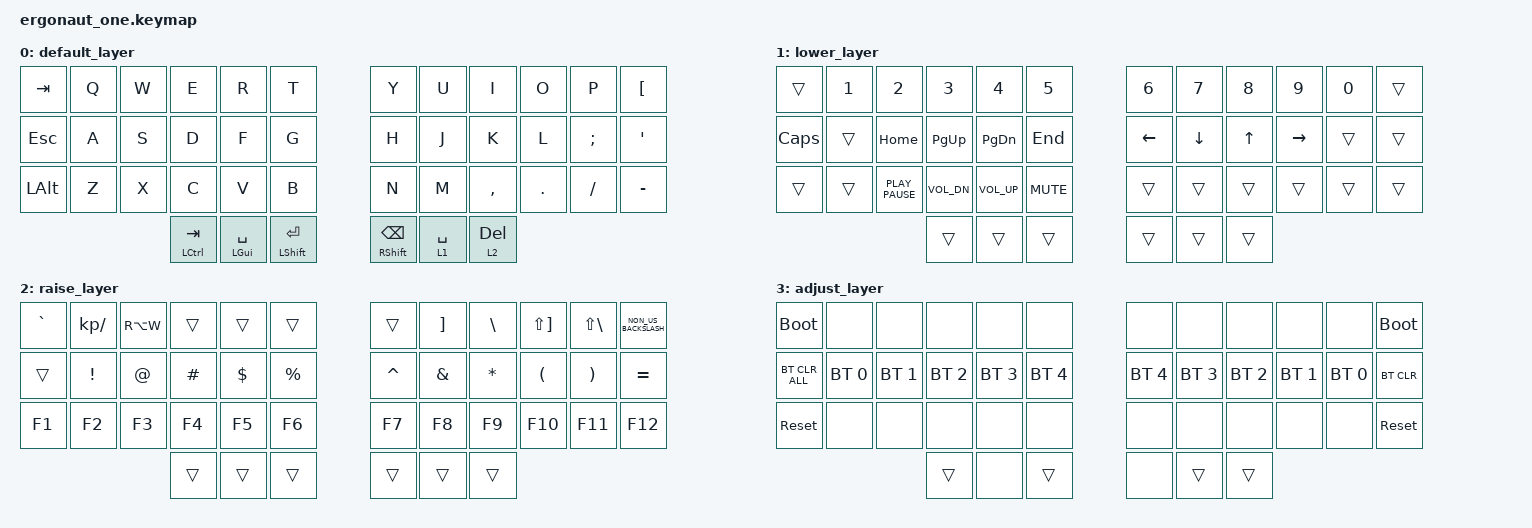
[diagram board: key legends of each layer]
#include <behaviors.dtsi>
#include <dt-bindings/zmk/bt.h>
#include <dt-bindings/zmk/keys.h>

#define DEF 0
#define LWR 1
#define RSE 2
#define ADJ 3

&lt { quick-tap-ms = <200>; };

&mt { quick-tap-ms = <200>; };

/ {
    conditional_layers {
        compatible = "zmk,conditional-layers";

        tri-layer {
            if-layers = <1 2>;
            then-layer = <3>;
        };
    };

    keymap {
        compatible = "zmk,keymap";

        default_layer {
            bindings = <
&kp TAB       &kp Q  &kp W  &kp E          &kp R               &kp T               &kp Y                &kp U        &kp I      &kp O    &kp P     &kp LBKT
&kp ESCAPE    &kp A  &kp S  &kp D          &kp F               &kp G               &kp H                &kp J        &kp K      &kp L    &kp SEMI  &kp SQT
&kp LEFT_ALT  &kp Z  &kp X  &kp C          &kp V               &kp B               &kp N                &kp M        &kp COMMA  &kp DOT  &kp FSLH  &kp MINUS
                            &mt LCTRL TAB  &mt LEFT_GUI SPACE  &mt LEFT_SHIFT RET  &mt RSHFT BACKSPACE  &lt 1 SPACE  &lt 2 DEL
            >;
        };

        lower_layer {
            bindings = <
&trans    &kp N1  &kp N2            &kp N3        &kp N4         &kp N5      &kp N6          &kp N7    &kp N8  &kp N9     &kp N0  &trans
&kp CAPS  &trans  &kp HOME          &kp PAGE_UP   &kp PAGE_DOWN  &kp END     &kp LEFT_ARROW  &kp DOWN  &kp UP  &kp RIGHT  &trans  &trans
&trans    &trans  &kp K_PLAY_PAUSE  &kp C_VOL_DN  &kp C_VOL_UP   &kp K_MUTE  &trans          &trans    &trans  &trans     &trans  &trans
                                    &trans        &trans         &trans      &trans          &trans    &trans
            >;
        };

        raise_layer {
            bindings = <
&kp GRAVE  &kp KP_SLASH  &kp RA(W)  &trans    &trans      &trans       &trans     &kp RIGHT_BRACKET  &kp BACKSLASH  &kp LS(RIGHT_BRACKET)  &kp LS(BACKSLASH)      &kp NON_US_BACKSLASH
&trans     &kp EXCL      &kp AT     &kp HASH  &kp DOLLAR  &kp PERCENT  &kp CARET  &kp AMPS           &kp ASTERISK   &kp LEFT_PARENTHESIS   &kp RIGHT_PARENTHESIS  &kp EQUAL
&kp F1     &kp F2        &kp F3     &kp F4    &kp F5      &kp F6       &kp F7     &kp F8             &kp F9         &kp F10                &kp F11                &kp F12
                                    &trans    &trans      &trans       &trans     &trans             &trans
            >;
        };

        adjust_layer {
            bindings = <
&bootloader     &none         &none         &none         &none         &none         &none         &none         &none         &none         &none         &bootloader
&bt BT_CLR_ALL  &bt BT_SEL 0  &bt BT_SEL 1  &bt BT_SEL 2  &bt BT_SEL 3  &bt BT_SEL 4  &bt BT_SEL 4  &bt BT_SEL 3  &bt BT_SEL 2  &bt BT_SEL 1  &bt BT_SEL 0  &bt BT_CLR
&sys_reset      &none         &none         &none         &none         &none         &none         &none         &none         &none         &none         &sys_reset
                                            &trans        &none         &trans        &none         &trans        &trans
            >;
        };
    };
};
